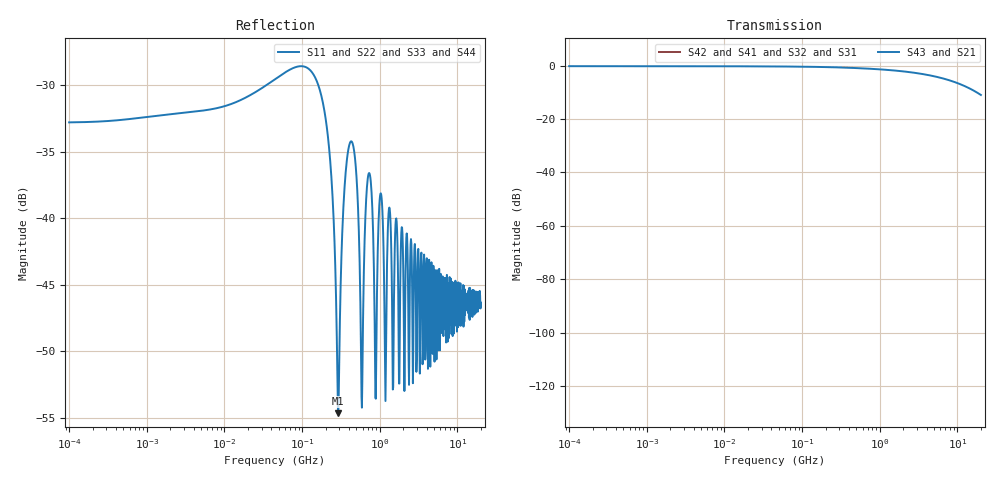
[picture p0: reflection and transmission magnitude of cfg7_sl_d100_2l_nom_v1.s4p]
! Created Wed Oct  9 17:02:41 2019
# hz S ma R 50
! 4 Port Network Data from SP1.SP block
! freq  magS11  angS11  magS12  angS12  magS13  angS13  magS14  angS14
!  magS21  angS21  magS22  angS22  magS23  angS23  magS24  angS24
!  magS31  angS31  magS32  angS32  magS33  angS33  magS34  angS34
!  magS41  angS41  magS42  angS42  magS43  angS43  magS44  angS44
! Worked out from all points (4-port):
!   1067 points, 100 kHz to 20 GHz, reference 50 ohm
!   strongest paths, dB at 100 kHz, 2.103 MHz, 44.72 MHz, 951.2 MHz, 20 GHz:
!     S43: -0.2, -0.2, -0.3, -1.4, -11.0
!     S21: -0.2, -0.2, -0.3, -1.4, -11.0
!     S42: -, -, -, -, -
!     S41: -, -, -, -, -
!     S32: -, -, -, -, -
!     S31: -, -, -, -, -
!   lowest |S11| = -54.6 dB at 292.5 MHz (marker M1), VSWR 1.00, Z = 50.2 - j0.101 ohm
!   |S11| at or under -10 dB: start of sweep to end of sweep
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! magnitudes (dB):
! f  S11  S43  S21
! 100 kHz  -32.8  -0.2  -0.2
! 123.9 MHz  -28.8  -0.4  -0.4
! 292.5 MHz  -54.6  -0.7  -0.7
! 426.7 MHz  -34.2  -0.8  -0.8
! 588 MHz  -54.2  -1.0  -1.0
! 722.6 MHz  -36.6  -1.1  -1.1
! 20 GHz  -46.3  -11.0  -11.0
